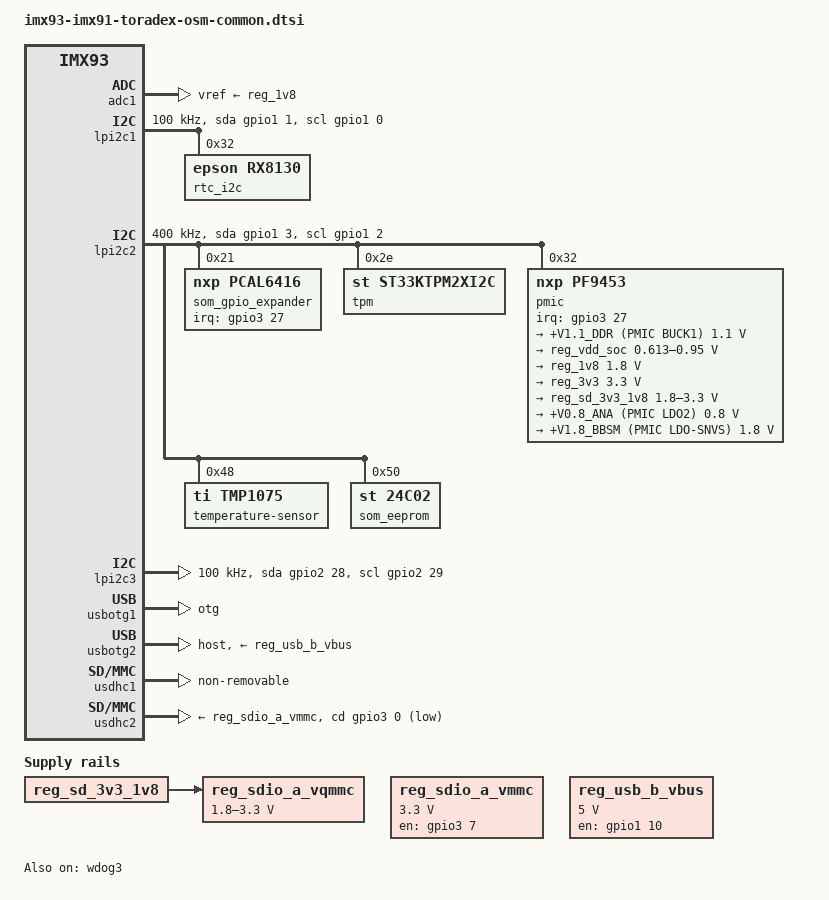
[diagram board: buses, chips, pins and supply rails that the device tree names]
// SPDX-License-Identifier: GPL-2.0-only OR MIT
/*
 * Copyright (c) Toradex
 *
 * Toradex OSM iMX93/iMX91 SoM
 *
 * https://www.toradex.com/computer-on-modules/osm-arm-family/nxp-imx93
 * https://www.toradex.com/computer-on-modules/osm-arm-family/nxp-imx91
 */

#include <dt-bindings/gpio/gpio.h>
#include <dt-bindings/interrupt-controller/irq.h>

/ {
	aliases {
		can0 = &flexcan1;
		can1 = &flexcan2;
		eeprom0 = &som_eeprom;
		ethernet0 = &eqos;
		ethernet1 = &fec;
		i2c0 = &lpi2c2;
		i2c1 = &lpi2c3;
		i2c2 = &lpi2c1;
		mmc0 = &usdhc1;
		mmc1 = &usdhc2;
		mmc2 = &usdhc3;
		rtc0 = &rtc_i2c;
		rtc1 = &bbnsm_rtc;
		serial0 = &lpuart1;
		serial1 = &lpuart6;
		serial2 = &lpuart7;
		serial3 = &lpuart2;
		usb0 = &usbotg1;
		usb1 = &usbotg2;
	};

	chosen {
		stdout-path = &lpuart1;
	};

	reg_sdio_a_vmmc: regulator-sdhci2-vmmc {
		compatible = "regulator-fixed";
		pinctrl-names = "default";
		pinctrl-0 = <&pinctrl_sdio_a_pwr_en>;
		/* OSM SDIO_A_PWR_EN (OSM D21) */
		gpios = <&gpio3 7 GPIO_ACTIVE_HIGH>;
		enable-active-high;
		off-on-delay-us = <100000>;
		regulator-max-microvolt = <3300000>;
		regulator-min-microvolt = <3300000>;
		regulator-name = "SDIO_A_PWR_EN";
		startup-delay-us = <20000>;
	};

	reg_sdio_a_vqmmc: regulator-sdhci2-vqmmc {
		compatible = "regulator-gpio";
		pinctrl-names = "default";
		pinctrl-0 = <&pinctrl_sdio_a_vsel>;
		/* PMIC_SD_2_VSEL */
		gpios = <&gpio3 19 GPIO_ACTIVE_HIGH>;
		regulator-max-microvolt = <3300000>;
		regulator-min-microvolt = <1800000>;
		regulator-name = "LDO1-VSEL-SD (PMIC)";
		states = <1800000 0x1>,
			 <3300000 0x0>;
		vin-supply = <&reg_sd_3v3_1v8>;
	};

	reg_usb_b_vbus: regulator-usb2-vbus {
		compatible = "regulator-fixed";
		pinctrl-names = "default";
		pinctrl-0 = <&pinctrl_usb_b_en>;
		/* OSM USB_B_EN (OSM AC20) */
		gpios = <&gpio1 10 GPIO_ACTIVE_HIGH>;
		enable-active-high;
		regulator-max-microvolt = <5000000>;
		regulator-min-microvolt = <5000000>;
		regulator-name = "USB_B_EN";
		startup-delay-us = <20000>;
	};
};

/* OSM ADC_0, ADC_1 */
&adc1 {
	vref-supply = <&reg_1v8>;
};

/* OSM ETH_A */
&eqos {
	pinctrl-names = "default";
	pinctrl-0 = <&pinctrl_mdio>, <&pinctrl_eth_a>;

	mdio: mdio {
		compatible = "snps,dwmac-mdio";
		#address-cells = <1>;
		#size-cells = <0>;

		status = "disabled";
	};
};

/* OSM ETH_B */
&fec {
	pinctrl-names = "default";
	pinctrl-0 = <&pinctrl_eth_b>;
};

/* OSM CAN_A */
&flexcan1 {
	pinctrl-names = "default";
	pinctrl-0 = <&pinctrl_can_a>;
};

/* OSM CAN_B */
&flexcan2 {
	pinctrl-names = "default";
	pinctrl-0 = <&pinctrl_can_b>;
};

&gpio1 {
	gpio-line-names =
		"OSM_AA20",
		"OSM_AA21",
		"PMIC_I2C_SCL",
		"PMIC_I2C_SDA",
		"",
		"",
		"",
		"",
		"",
		"",
		"OSM_AC20", /* 10 */
		"OSM_AA23",
		"",
		"",
		"",
		"";
};

&gpio2 {
	gpio-line-names =
		"OSM_D17",
		"OSM_E17",
		"OSM_F17",
		"OSM_G17",
		"",
		"",
		"",
		"",
		"",
		"",
		"", /* 10 */
		"",
		"OSM_Y15",
		"",
		"",
		"",
		"",
		"",
		"",
		"",
		"", /* 20 */
		"",
		"OSM_H17",
		"",
		"OSM_J17",
		"",
		"",
		"",
		"OSM_AA16",
		"OSM_AA15";
};

&gpio3 {
	gpio-line-names =
		"OSM_J21",
		"",
		"",
		"",
		"",
		"",
		"",
		"OSM_D21",
		"",
		"",
		"", /* 10 */
		"",
		"",
		"",
		"",
		"",
		"",
		"",
		"",
		"PMIC_SD_2_VSEL",
		"", /* 20 */
		"",
		"",
		"",
		"",
		"",
		"",
		"CTRL_INT#",
		"",
		"",
		"", /* 30 */
		"";
};

&gpio4 {
	gpio-line-names =
		"",
		"",
		"",
		"",
		"",
		"",
		"",
		"",
		"",
		"",
		"", /* 10 */
		"",
		"",
		"",
		"OSM_K17",
		"OSM_L17",
		"",
		"",
		"",
		"",
		"", /* 20 */
		"",
		"",
		"",
		"",
		"",
		"",
		"",
		"OSM_AC16",
		"OSM_AC15";
};

/* OSM I2C_B */
&lpi2c1 {
	pinctrl-names = "default", "gpio";
	pinctrl-0 = <&pinctrl_i2c_b>;
	pinctrl-1 = <&pinctrl_i2c_b_gpio>;
	clock-frequency = <100000>;
	scl-gpios = <&gpio1 0 (GPIO_ACTIVE_HIGH | GPIO_OPEN_DRAIN)>;
	sda-gpios = <&gpio1 1 (GPIO_ACTIVE_HIGH | GPIO_OPEN_DRAIN)>;
	single-master;

	status = "okay";

	rtc_i2c: rtc@32 {
		compatible = "epson,rx8130";
		reg = <0x32>;
	};
};

/* On-module I2C - PMIC_I2C */
&lpi2c2 {
	pinctrl-names = "default", "gpio";
	pinctrl-0 = <&pinctrl_pmic_i2c>, <&pinctrl_ctrl_int>;
	pinctrl-1 = <&pinctrl_pmic_i2c_gpio>, <&pinctrl_ctrl_int>;
	clock-frequency = <400000>;
	scl-gpios = <&gpio1 2 (GPIO_ACTIVE_HIGH | GPIO_OPEN_DRAIN)>;
	sda-gpios = <&gpio1 3 (GPIO_ACTIVE_HIGH | GPIO_OPEN_DRAIN)>;
	single-master;

	status = "okay";

	som_gpio_expander: gpio@21 {
		compatible = "nxp,pcal6416";
		reg = <0x21>;
		#interrupt-cells = <2>;
		interrupt-controller;
		interrupt-parent = <&gpio3>;
		interrupts = <27 IRQ_TYPE_LEVEL_LOW>;
		#gpio-cells = <2>;
		gpio-controller;
		gpio-line-names =
			"OSM_D19", /* OSM GPIO_B_0 */
			"OSM_E19", /* OSM GPIO_B_1 */
			"OSM_F19", /* OSM GPIO_B_2 */
			"OSM_G19", /* OSM GPIO_B_3 */
			"OSM_H19", /* OSM GPIO_B_4 */
			"OSM_J19", /* OSM GPIO_B_5 */
			"OSM_K19", /* OSM GPIO_B_6 */
			"OSM_L19", /* OSM GPIO_B_7 */
			"OSM_D3",  /* OSM GPIO_C_0 */
			"OSM_D4",  /* OSM GPIO_C_1 */
			"OSM_E3",  /* OSM GPIO_C_2/CAM_B_PWR   */
			"OSM_E4",  /* OSM GPIO_C_3/CAM_B_RST#  */
			"OSM_F3",  /* OSM GPIO_C_4/DISP_VDD_EN */
			"OSM_F4",  /* OSM GPIO_C_5/DISP_BL_EN  */
			"OSM_G3",  /* OSM GPIO_C_6/CAM_A_PWR   */
			"OSM_G4";  /* OSM GPIO_C_7/CAM_A_RST#  */
	};

	tpm@2e {
		compatible = "st,st33ktpm2xi2c", "tcg,tpm-tis-i2c";
		reg = <0x2e>;
	};

	pmic@32 {
		compatible = "nxp,pf9453";
		reg = <0x32>;
		interrupt-parent = <&gpio3>;
		interrupts = <27 IRQ_TYPE_LEVEL_LOW>;

		regulators {
			BUCK1 {
				regulator-always-on;
				regulator-boot-on;
				regulator-max-microvolt = <1100000>;
				regulator-min-microvolt = <1100000>;
				regulator-name = "+V1.1_DDR (PMIC BUCK1)";
			};

			reg_vdd_soc: BUCK2 {
				regulator-always-on;
				regulator-boot-on;
				regulator-max-microvolt = <950000>;
				regulator-min-microvolt = <612500>;
				regulator-name = "+VDD_SOC (PMIC BUCK2)";
				regulator-ramp-delay = <12500>;
			};

			reg_1v8: BUCK3 {
				regulator-always-on;
				regulator-boot-on;
				regulator-max-microvolt = <1800000>;
				regulator-min-microvolt = <1800000>;
				regulator-name = "+V1.8 / +V1.8_ANA (PMIC BUCK3)";
			};

			reg_3v3: BUCK4 {
				regulator-always-on;
				regulator-boot-on;
				regulator-max-microvolt = <3300000>;
				regulator-min-microvolt = <3300000>;
				regulator-name = "+V3.3 (PMIC BUCK4)";
			};

			reg_sd_3v3_1v8: LDO1 {
				regulator-always-on;
				regulator-boot-on;
				regulator-max-microvolt = <3300000>;
				regulator-min-microvolt = <1800000>;
				regulator-name = "+V3.3_1.8_SD (PMIC LDO1)";
			};

			LDO2 {
				regulator-always-on;
				regulator-boot-on;
				regulator-max-microvolt = <800000>;
				regulator-min-microvolt = <800000>;
				regulator-name = "+V0.8_ANA (PMIC LDO2)";
			};

			LDO-SNVS {
				regulator-always-on;
				regulator-boot-on;
				regulator-max-microvolt = <1800000>;
				regulator-min-microvolt = <1800000>;
				regulator-name = "+V1.8_BBSM (PMIC LDO-SNVS)";
			};
		};
	};

	temperature-sensor@48 {
		compatible = "ti,tmp1075";
		reg = <0x48>;
	};

	som_eeprom: eeprom@50 {
		compatible = "st,24c02", "atmel,24c02";
		reg = <0x50>;
		pagesize = <16>;
	};
};

/* OSM I2C_A */
&lpi2c3 {
	pinctrl-names = "default", "gpio";
	pinctrl-0 = <&pinctrl_i2c_a>;
	pinctrl-1 = <&pinctrl_i2c_a_gpio>;
	clock-frequency = <100000>;
	scl-gpios = <&gpio2 29 (GPIO_ACTIVE_HIGH | GPIO_OPEN_DRAIN)>;
	sda-gpios = <&gpio2 28 (GPIO_ACTIVE_HIGH | GPIO_OPEN_DRAIN)>;
	single-master;
};

/* OSM SPI_B */
&lpspi1 {
	pinctrl-names = "default";
	pinctrl-0 = <&pinctrl_spi_b>, <&pinctrl_spi_b_cs0_gpio>;
	cs-gpios = <&gpio1 11 GPIO_ACTIVE_LOW>;
};

/* OSM SPI_A */
&lpspi8 {
	pinctrl-names = "default";
	pinctrl-0 = <&pinctrl_spi_a>, <&pinctrl_spi_a_cs0_gpio>;
	cs-gpios = <&gpio2 12 GPIO_ACTIVE_LOW>;
};

/* OSM UART_CON, used as the Linux Console */
&lpuart1 {
	pinctrl-names = "default";
	pinctrl-0 = <&pinctrl_uart_con>;
};

/* OSM UART_C */
&lpuart2 {
	pinctrl-names = "default";
	pinctrl-0 = <&pinctrl_uart_c>;
};

/* OSM UART_A */
&lpuart6 {
	pinctrl-names = "default";
	pinctrl-0 = <&pinctrl_uart_a>;
	uart-has-rtscts;
};

/* OSM UART_B */
&lpuart7 {
	pinctrl-names = "default";
	pinctrl-0 = <&pinctrl_uart_b>;
	uart-has-rtscts;
};

/* OSM I2S_A */
&sai3 {
	pinctrl-names = "default";
	pinctrl-0 = <&pinctrl_i2s_a>;
	assigned-clocks = <&clk IMX93_CLK_SAI3>;
	assigned-clock-parents = <&clk IMX93_CLK_AUDIO_PLL>;
	assigned-clock-rates = <12288000>;
	fsl,sai-mclk-direction-output;
};

/* OSM PWM_0 */
&tpm4 {
	pinctrl-names = "default";
	pinctrl-0 = <&pinctrl_pwm0>;
};

/* OSM PWM_1 */
&tpm5 {
	pinctrl-names = "default";
	pinctrl-0 = <&pinctrl_pwm1>;
};

/* OSM PWM_2 */
&tpm6 {
	pinctrl-names = "default";
	pinctrl-0 = <&pinctrl_pwm2>;
};

/* OSM USB_A */
&usbotg1 {
	dr_mode = "otg";
	adp-disable;
	hnp-disable;
	srp-disable;
	usb-role-switch;
	disable-over-current;
	role-switch-default-mode = "peripheral";
	samsung,picophy-dc-vol-level-adjust = <7>;
	samsung,picophy-pre-emp-curr-control = <3>;
};

/* OSM USB_B */
&usbotg2 {
	disable-over-current;
	dr_mode = "host";
	vbus-supply = <&reg_usb_b_vbus>;
	samsung,picophy-dc-vol-level-adjust = <7>;
	samsung,picophy-pre-emp-curr-control = <3>;
};

/* On-module eMMC */
&usdhc1 {
	pinctrl-names = "default", "state_100mhz", "state_200mhz";
	pinctrl-0 = <&pinctrl_emmc>;
	pinctrl-1 = <&pinctrl_emmc>;
	pinctrl-2 = <&pinctrl_emmc>;
	no-sd;
	no-sdio;
	non-removable;

	status = "okay";
};

/* OSM SDIO_A */
&usdhc2 {
	pinctrl-names = "default", "state_100mhz", "state_200mhz";
	pinctrl-0 = <&pinctrl_sdio_a>, <&pinctrl_sdio_a_cd>;
	pinctrl-1 = <&pinctrl_sdio_a>, <&pinctrl_sdio_a_cd>;
	pinctrl-2 = <&pinctrl_sdio_a>, <&pinctrl_sdio_a_cd>;
	cd-gpios = <&gpio3 0 GPIO_ACTIVE_LOW>;
	disable-wp;
	vmmc-supply = <&reg_sdio_a_vmmc>;
	vqmmc-supply = <&reg_sdio_a_vqmmc>;
};

/* OSM SDIO_B */
&usdhc3 {
	pinctrl-names = "default", "state_100mhz", "state_200mhz";
	pinctrl-0 = <&pinctrl_sdio_b>;
	pinctrl-1 = <&pinctrl_sdio_b>;
	pinctrl-2 = <&pinctrl_sdio_b>;
	disable-wp;
};

&wdog3 {
	pinctrl-names = "default";
	pinctrl-0 = <&pinctrl_wdog>;
	fsl,ext-reset-output;

	status = "okay";
};
